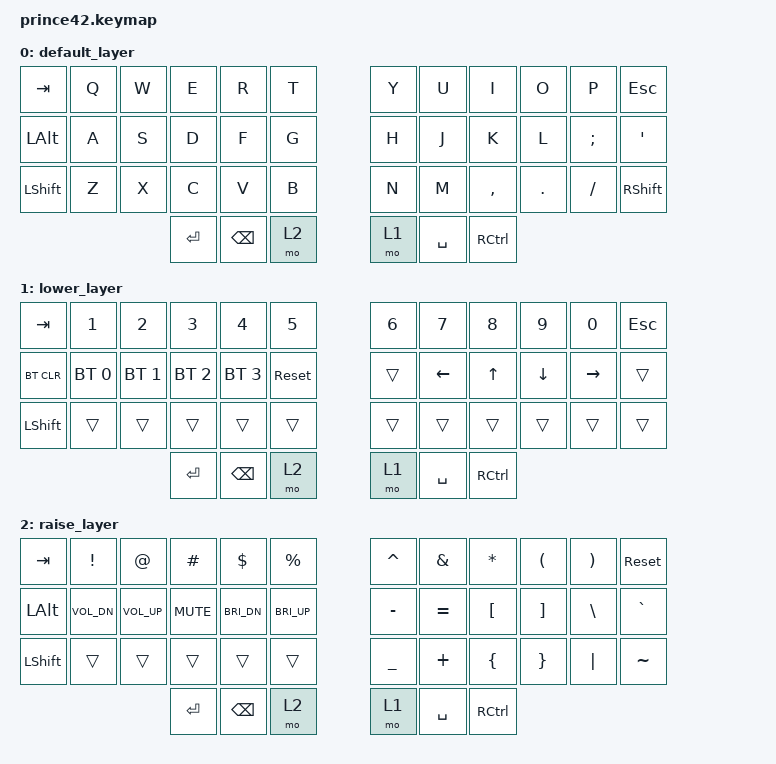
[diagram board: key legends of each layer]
#include <behaviors.dtsi>
#include <dt-bindings/zmk/keys.h>
#include <dt-bindings/zmk/bt.h>


/ {
        keymap {
                compatible = "zmk,keymap";

                default_layer {
// -----------------------------------------------------------------------------------------
// |  TAB |  Q  |  W  |  E  |  R  |  T  |   |  Y  |  U   |  I  |  O  |  P  | ESC |
// | CTRL |  A  |  S  |  D  |  F  |  G  |   |  H  |  J   |  K  |  L  |  ;  |  '   |
// | SHFT |  Z  |  X  |  C  |  V  |  B  |   |  N  |  M   |  ,  |  .  |  /  | SHFT  |
//                    | ENT | BSPC | RSE |   | LWR | SPC  | ALT |
                        bindings = <
   &kp TAB   &kp Q &kp W &kp E &kp R &kp T   &kp Y &kp U  &kp I     &kp O   &kp P    &kp ESC
   &kp LALT &kp A &kp S &kp D &kp F &kp G   &kp H &kp J  &kp K     &kp L   &kp SEMI &kp SQT
   &kp LSHFT &kp Z &kp X &kp C &kp V &kp B   &kp N &kp M  &kp COMMA &kp DOT &kp FSLH &kp RSHFT
                  &kp RET &kp BSPC &mo 2   &mo 1 &kp SPACE &kp RCTRL
                        >;
                };
                lower_layer {
// -----------------------------------------------------------------------------------------
// |  TAB |  1  |  2  |  3  |  4  |  5  |   |  6  |  7  |  8  |  9  |  0  | ESC |
// | BTCLR| BT1 | BT2 | BT3 | BT4 | Boot|   | LFT | UP  | DOWN| RGT |     |      |
// | SHFT |     |     |     |     |     |   |     |     |     |     |     |      |
//                    | GUI |     | SPC |   | ENT |     | ALT |
                        bindings = <
   &kp TAB    &kp N1       &kp N2       &kp N3       &kp N4       &kp N5         &kp N6   &kp N7   &kp N8 &kp N9    &kp N0 &kp ESC 
   &bt BT_CLR &bt BT_SEL 0 &bt BT_SEL 1 &bt BT_SEL 2 &bt BT_SEL 3 &sys_reset    &trans  &kp LEFT &kp UP &kp DOWN  &kp RIGHT &trans
   &kp LSHFT  &trans       &trans       &trans       &trans       &trans         &trans   &trans   &trans &trans    &trans &trans
                                        &kp RET      &kp BSPC     &mo 2          &mo 1 &kp SPACE   &kp RCTRL
                        >;
                };

                raise_layer {
// -----------------------------------------------------------------------------------------
// |  TAB |  !  |  @  |  #  |  $  |  %  |   |  ^  |  &  |  *  |  (  |  )  | BOOT |
// | CTRL |     |     |     |     |     |   |  -  |  =  |  [  |  ]  |  \  |  `   |
// | SHFT |     |     |     |     |     |   |  _  |  +  |  {  |  }  | "|" |  ~   |
//                    | GUI |     | SPC |   | ENT |     | ALT |
                        bindings = <
   &kp  TAB  &kp EXCL     &kp AT       &kp HASH   &kp DLLR       &kp PRCNT         &kp CARET &kp AMPS  &kp ASTRK &kp LPAR &kp RPAR &sys_reset
   &kp LALT &kp C_VOL_DN &kp C_VOL_UP &kp C_MUTE &kp C_BRI_DN   &kp C_BRI_UP      &kp MINUS &kp EQUAL &kp LBKT  &kp RBKT &kp BSLH &kp GRAVE
   &kp LSHFT &trans       &trans       &trans     &trans         &trans            &kp UNDER &kp PLUS  &kp LBRC  &kp RBRC &kp PIPE &kp TILDE
                          &kp RET      &kp BSPC   &mo 2                         &mo 1  &kp SPACE    &kp RCTRL
                        >;
                };
        };
};

